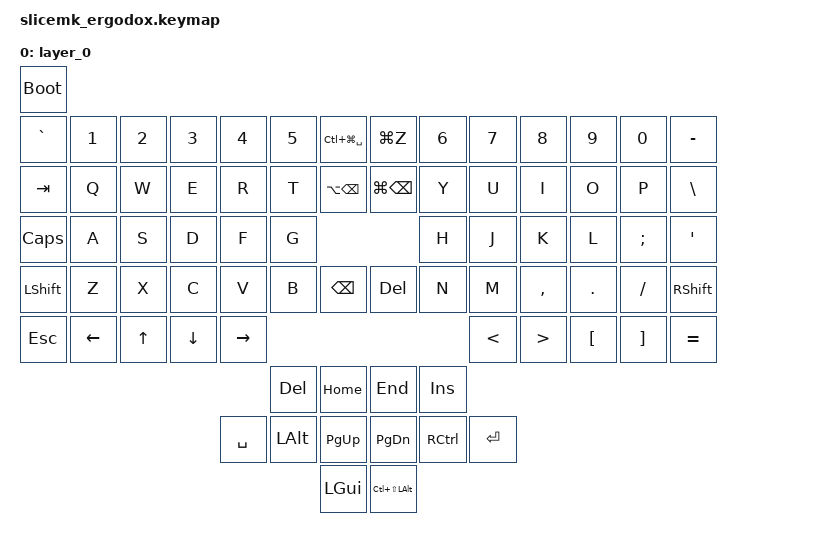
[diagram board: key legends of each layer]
#define LAYER_MAIN 0

#include <behaviors.dtsi>
#include <dt-bindings/zmk/bt.h>
#include <dt-bindings/zmk/keys.h>
#include <dt-bindings/zmk/mouse.h>
#include <dt-bindings/zmk/outputs.h>
#include <dt-bindings/zmk/rgb.h>

/ {
	keymap {
		compatible = "zmk,keymap";
		layer_0 {
			bindings = <
				&bootloader
				&kp GRAVE      &kp NUMBER_1   &kp NUMBER_2 &kp NUMBER_3   &kp NUMBER_4    &kp NUMBER_5 &kp LC(LG(SPACE)) &kp LG(Z)            &kp NUMBER_6      &kp NUMBER_7  &kp NUMBER_8     &kp NUMBER_9     &kp NUMBER_0      &kp MINUS
				&kp TAB        &kp Q          &kp W        &kp E          &kp R           &kp T        &kp LA(BACKSPACE) &kp LG(BACKSPACE)    &kp Y             &kp U         &kp I            &kp O            &kp P             &kp BACKSLASH
				&kp CAPSLOCK   &kp A          &kp S        &kp D          &kp F           &kp G                                               &kp H             &kp J         &kp K            &kp L            &kp SEMICOLON     &kp SINGLE_QUOTE
				&kp LEFT_SHIFT &kp Z          &kp X        &kp C          &kp V           &kp B        &kp BACKSPACE     &kp DELETE           &kp N             &kp M         &kp COMMA        &kp PERIOD       &kp SLASH         &kp RIGHT_SHIFT
				&kp ESCAPE     &kp LEFT_ARROW &kp UP_ARROW &kp DOWN_ARROW &kp RIGHT_ARROW                                                                       &kp LESS_THAN &kp GREATER_THAN &kp LEFT_BRACKET &kp RIGHT_BRACKET &kp EQUAL
				                                                                          &kp DELETE   &kp HOME          &kp END              &kp INSERT
				                                                          &kp SPACE       &kp LEFT_ALT &kp PAGE_UP       &kp PAGE_DOWN        &kp RIGHT_CONTROL &kp RETURN
				                                                                                       &kp LEFT_GUI      &kp LC(LS(LEFT_ALT))
			>;
		};
	};
};
